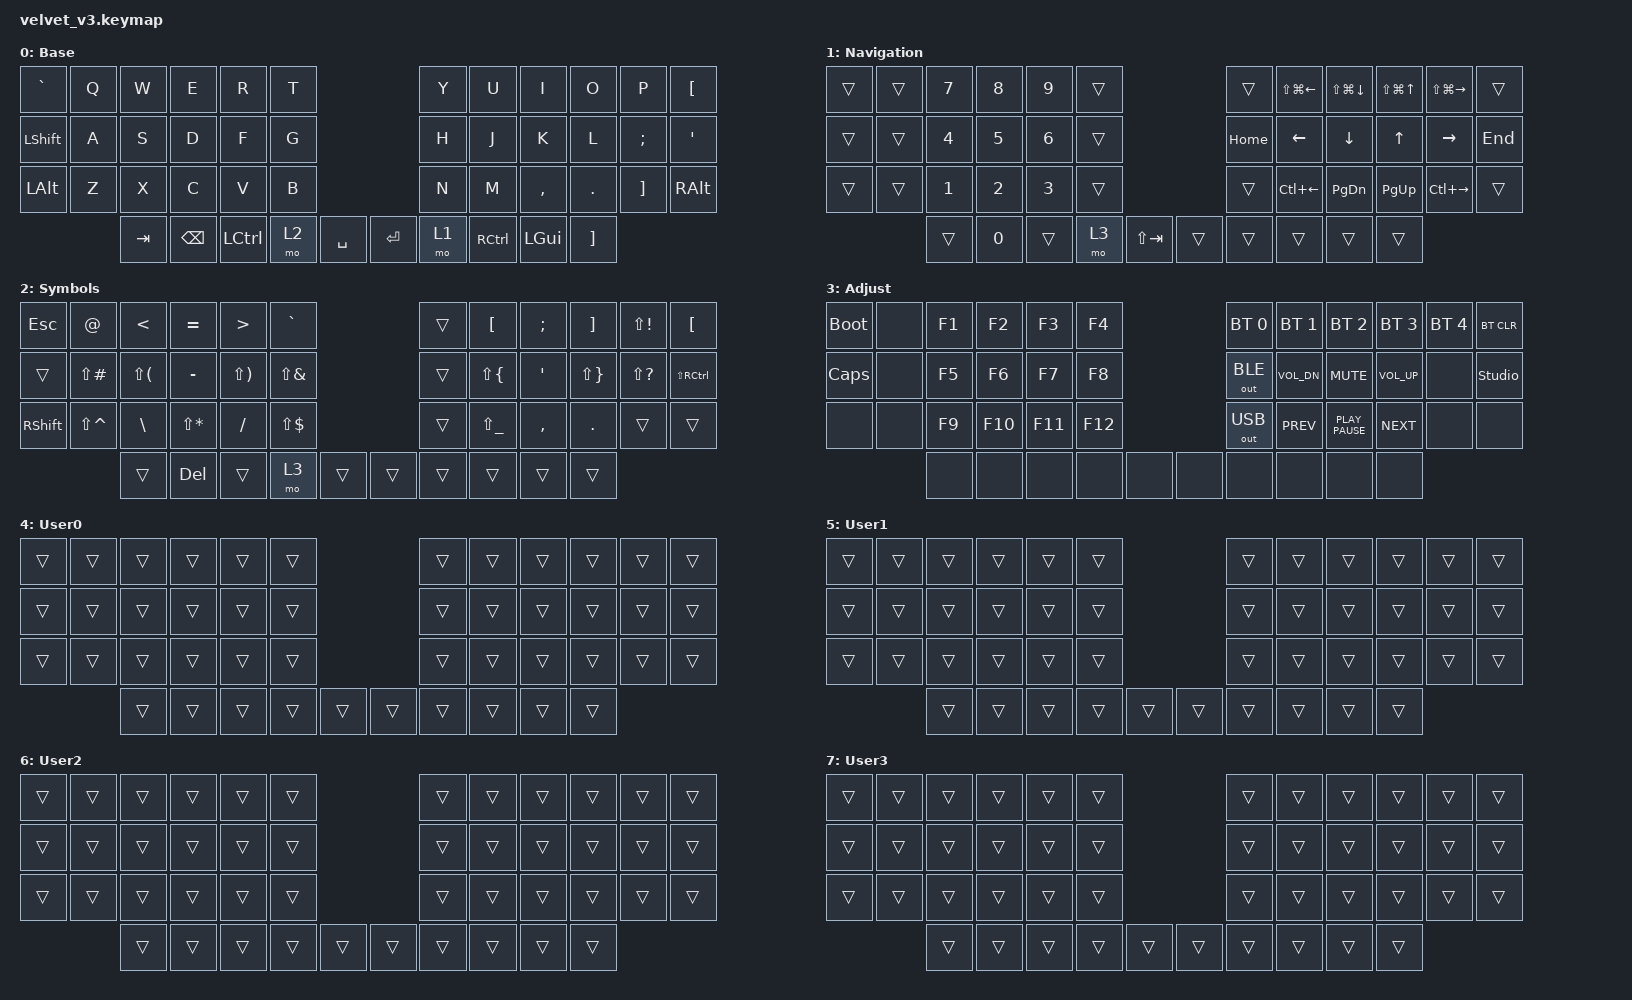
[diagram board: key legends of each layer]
#include "keys_ru.h"
#include <behaviors.dtsi>
#include <dt-bindings/zmk/bt.h>
#include <dt-bindings/zmk/keys.h>
#include <dt-bindings/zmk/outputs.h>

/ {
    keymap {
        compatible = "zmk,keymap";

        base {
            bindings = <
&kp GRAVE  &kp Q  &kp W    &kp E     &kp R      &kp T                        &kp Y  &kp U      &kp I      &kp O     &kp P     &kp LBKT
&kp LSHFT  &kp A  &kp S    &kp D     &kp F      &kp G                        &kp H  &kp J      &kp K      &kp L     &kp SEMI  &kp SQT
&kp LALT   &kp Z  &kp X    &kp C     &kp V      &kp B                        &kp N  &kp M      &kp COMMA  &kp DOT   &kp RBKT  &kp RALT
                  &kp TAB  &kp BSPC  &kp LCTRL  &mo 2  &kp SPACE    &kp RET  &mo 1  &kp RCTRL  &kp LGUI   &kp RBKT
            >;

            display-name = "Base";
        };

        nav {
            bindings = <
&trans  &trans  &kp N7  &kp N8  &kp N9  &trans                         &trans    &kp LS(LG(LEFT))  &kp LS(LG(DOWN))  &kp LS(LG(UP))  &kp LS(LG(RIGHT))  &trans
&trans  &trans  &kp N4  &kp N5  &kp N6  &trans                         &kp HOME  &kp LEFT          &kp DOWN          &kp UP          &kp RIGHT          &kp END
&trans  &trans  &kp N1  &kp N2  &kp N3  &trans                         &trans    &kp LC(LEFT)      &kp PAGE_DOWN     &kp PAGE_UP     &kp LC(RIGHT)      &trans
                &trans  &kp N0  &trans  &mo 3   &kp LS(TAB)    &trans  &trans    &trans            &trans            &trans
            >;

            display-name = "Navigation";
        };

        sym {
            bindings = <
&kp ESC    &kp AT_SIGN    &kp LT        &kp EQUAL     &kp GT        &kp GRAVE                       &trans  &kp LBKT       &kp SEMI   &kp RBKT      &kp LS(EXCL)   &kp LBKT
&trans     &kp LS(POUND)  &kp LS(LPAR)  &kp MINUS     &kp LS(RPAR)  &kp LS(AMPS)                    &trans  &kp LS(LBRC)   &kp SQT    &kp LS(RBRC)  &kp LS(QMARK)  &kp LS(RCTRL)
&kp RSHFT  &kp LS(CARET)  &kp BSLH      &kp LS(STAR)  &kp FSLH      &kp LS(DLLR)                    &trans  &kp LS(UNDER)  &kp COMMA  &kp DOT       &trans         &trans
                          &trans        &kp DELETE    &trans        &mo 3         &trans    &trans  &trans  &trans         &trans     &trans
            >;

            display-name = "Symbols";
        };

        adj {
            bindings = <
&bootloader   &none  &kp F1  &kp F2   &kp F3   &kp F4                   &bt BT_SEL 0  &bt BT_SEL 1  &bt BT_SEL 2      &bt BT_SEL 3  &bt BT_SEL 4  &bt BT_CLR
&kp CAPSLOCK  &none  &kp F5  &kp F6   &kp F7   &kp F8                   &out OUT_BLE  &kp C_VOL_DN  &kp K_MUTE        &kp C_VOL_UP  &none         &studio_unlock
&none         &none  &kp F9  &kp F10  &kp F11  &kp F12                  &out OUT_USB  &kp K_PREV    &kp K_PLAY_PAUSE  &kp K_NEXT    &none         &none
                     &none   &none    &none    &none    &none    &none  &none         &none         &none             &none
            >;

            display-name = "Adjust";
        };

        User0 {
            bindings = <
&trans  &trans  &trans  &trans  &trans  &trans                    &trans  &trans  &trans  &trans  &trans  &trans
&trans  &trans  &trans  &trans  &trans  &trans                    &trans  &trans  &trans  &trans  &trans  &trans
&trans  &trans  &trans  &trans  &trans  &trans                    &trans  &trans  &trans  &trans  &trans  &trans
                &trans  &trans  &trans  &trans  &trans    &trans  &trans  &trans  &trans  &trans
            >;

            display-name = "User0";
        };

        User1 {
            bindings = <
&trans  &trans  &trans  &trans  &trans  &trans                    &trans  &trans  &trans  &trans  &trans  &trans
&trans  &trans  &trans  &trans  &trans  &trans                    &trans  &trans  &trans  &trans  &trans  &trans
&trans  &trans  &trans  &trans  &trans  &trans                    &trans  &trans  &trans  &trans  &trans  &trans
                &trans  &trans  &trans  &trans  &trans    &trans  &trans  &trans  &trans  &trans
            >;

            display-name = "User1";
        };

        User2 {
            bindings = <
&trans  &trans  &trans  &trans  &trans  &trans                    &trans  &trans  &trans  &trans  &trans  &trans
&trans  &trans  &trans  &trans  &trans  &trans                    &trans  &trans  &trans  &trans  &trans  &trans
&trans  &trans  &trans  &trans  &trans  &trans                    &trans  &trans  &trans  &trans  &trans  &trans
                &trans  &trans  &trans  &trans  &trans    &trans  &trans  &trans  &trans  &trans
            >;

            display-name = "User2";
        };

        User3 {
            bindings = <
&trans  &trans  &trans  &trans  &trans  &trans                    &trans  &trans  &trans  &trans  &trans  &trans
&trans  &trans  &trans  &trans  &trans  &trans                    &trans  &trans  &trans  &trans  &trans  &trans
&trans  &trans  &trans  &trans  &trans  &trans                    &trans  &trans  &trans  &trans  &trans  &trans
                &trans  &trans  &trans  &trans  &trans    &trans  &trans  &trans  &trans  &trans
            >;

            display-name = "User3";
        };
    };
};
